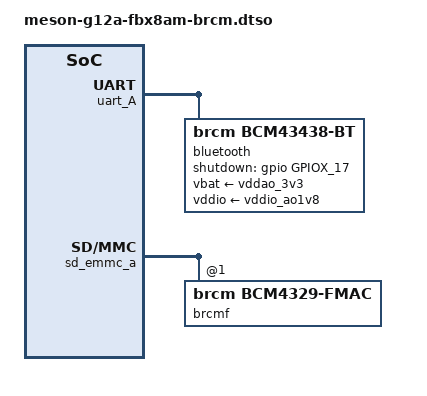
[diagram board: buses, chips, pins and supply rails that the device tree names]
// SPDX-License-Identifier: (GPL-2.0+ OR MIT)
// Copyright (c) 2024 Freebox SAS

/dts-v1/;
/plugin/;

#include <dt-bindings/gpio/gpio.h>
#include <dt-bindings/gpio/meson-g12a-gpio.h>

&uart_A {
	bluetooth {
		compatible = "brcm,bcm43438-bt";
		shutdown-gpios = <&gpio GPIOX_17 GPIO_ACTIVE_HIGH>;
		max-speed = <2000000>;
		clocks = <&wifi32k>;
		clock-names = "lpo";
		vbat-supply = <&vddao_3v3>;
		vddio-supply = <&vddio_ao1v8>;
	};
};

&sd_emmc_a {
	/* Per mmc-controller.yaml */
	#address-cells = <1>;
	#size-cells = <0>;
	/* NB: may be either AP6398S or AP6398SR3 wifi module */
	brcmf: wifi@1 {
		reg = <1>;
		compatible = "brcm,bcm4329-fmac";
	};
};
